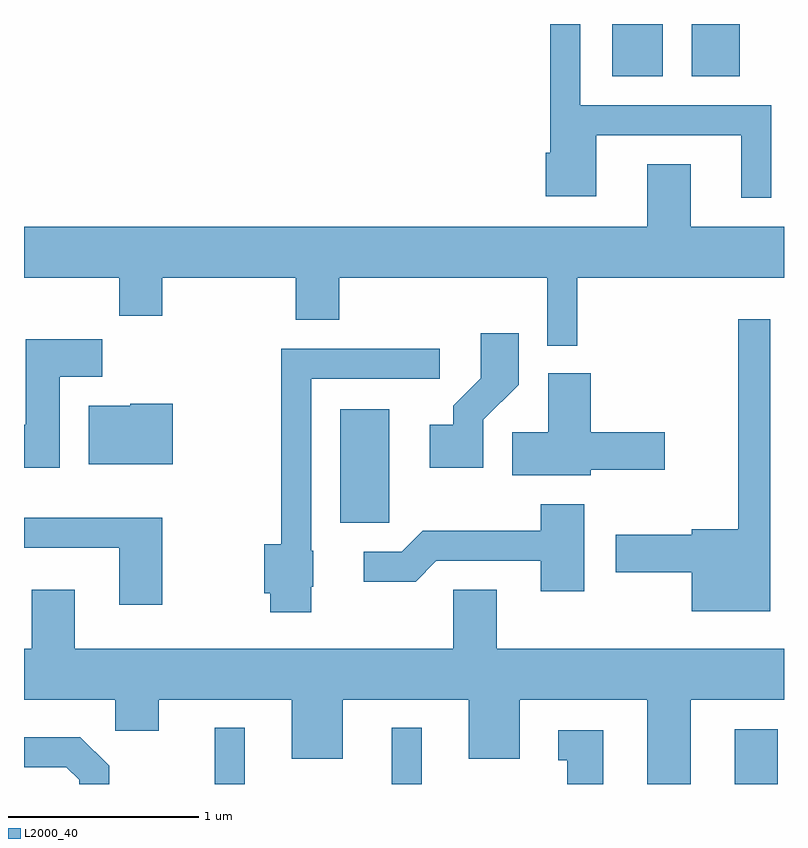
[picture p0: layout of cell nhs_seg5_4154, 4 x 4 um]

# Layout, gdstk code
import gdstk
lib = gdstk.Library(unit=1e-6, precision=1e-09)
def R(c, l, rs):  # rectangles x0, y0, x1, y1
    for r in rs: c.add(gdstk.rectangle(r[:2], r[2:], *l))
def P(c, l, *ps):  # polygons
    for p in ps: c.add(gdstk.Polygon(p, *l))
L2000_40 = (2000, 40)

nhs_seg5_4154 = lib.new_cell('nhs_seg5_4154')
R(nhs_seg5_4154, L2000_40, [(308.616,1514.072,308.774,1514.368), (309.546,1514.072,309.704,1514.368), (311.351,1514.072,311.579,1514.359), (309.276,1515.446,309.534,1516.044), (310.706,1517.796,310.974,1518.072), (311.126,1517.796,311.379,1518.072)])
P(nhs_seg5_4154, L2000_40, [(311.544,1517.644),(310.539,1517.644),(310.539,1518.072),(310.381,1518.072),(310.381,1517.394),(310.356,1517.394),(310.356,1517.166),(310.624,1517.166),(310.624,1517.486),(311.386,1517.486),(311.386,1517.158),(311.544,1517.158)],
  [(311.611,1517.004),(311.119,1517.004),(311.119,1517.334),(310.891,1517.334),(310.891,1517.004),(307.611,1517.004),(307.611,1516.736),(308.111,1516.736),(308.111,1516.536),(308.339,1516.536),(308.339,1516.736),(309.041,1516.736),(309.041,1516.516),(309.269,1516.516),(309.269,1516.736),(310.366,1516.736),(310.366,1516.378),(310.524,1516.378),(310.524,1516.736),(311.611,1516.736)],
  [(311.539,1516.518),(311.371,1516.518),(311.371,1515.414),(311.126,1515.414),(311.126,1515.384),(310.726,1515.384),(310.726,1515.186),(311.126,1515.186),(311.126,1514.981),(311.539,1514.981)],
  [(310.029,1515.989),(310.214,1516.174),(310.214,1516.444),(310.016,1516.444),(310.016,1516.207),(309.871,1516.062),(309.871,1515.964),(309.746,1515.964),(309.746,1515.736),(310.029,1515.736)],
  [(307.799,1516.216),(308.024,1516.216),(308.024,1516.414),(307.621,1516.414),(307.621,1515.964),(307.611,1515.964),(307.611,1515.736),(307.799,1515.736)],
  [(309.124,1515.11),(309.134,1515.11),(309.134,1515.3),(309.124,1515.3),(309.124,1516.206),(309.798,1516.206),(309.798,1516.364),(308.966,1516.364),(308.966,1515.334),(308.876,1515.334),(308.876,1515.076),(308.906,1515.076),(308.906,1514.976),(309.124,1514.976)],
  [(310.594,1515.726),(310.984,1515.726),(310.984,1515.924),(310.594,1515.924),(310.594,1516.234),(310.371,1516.234),(310.371,1515.924),(310.181,1515.924),(310.181,1515.696),(310.594,1515.696)],
  [(308.394,1516.074),(308.17,1516.074),(308.17,1516.064),(307.951,1516.064),(307.951,1515.756),(308.394,1515.756)],
  [(310.559,1515.544),(310.331,1515.544),(310.331,1515.404),(309.709,1515.404),(309.599,1515.294),(309.398,1515.294),(309.398,1515.136),(309.672,1515.136),(309.782,1515.246),(310.331,1515.246),(310.331,1515.086),(310.559,1515.086)],
  [(308.339,1515.474),(307.611,1515.474),(307.611,1515.316),(308.111,1515.316),(308.111,1515.016),(308.339,1515.016)],
  [(311.119,1514.516),(311.611,1514.516),(311.611,1514.784),(310.099,1514.784),(310.099,1515.094),(309.871,1515.094),(309.871,1514.784),(307.879,1514.784),(307.879,1515.094),(307.651,1515.094),(307.651,1514.784),(307.611,1514.784),(307.611,1514.516),(308.091,1514.516),(308.091,1514.351),(308.319,1514.351),(308.319,1514.516),(309.021,1514.516),(309.021,1514.206),(309.289,1514.206),(309.289,1514.516),(309.951,1514.516),(309.951,1514.206),(310.219,1514.206),(310.219,1514.516),(310.891,1514.516),(310.891,1514.072),(311.119,1514.072)],
  [(310.659,1514.354),(310.423,1514.354),(310.423,1514.196),(310.471,1514.196),(310.471,1514.072),(310.659,1514.072)],
  [(308.059,1514.167),(307.907,1514.319),(307.611,1514.319),(307.611,1514.161),(307.834,1514.161),(307.901,1514.094),(307.901,1514.072),(308.059,1514.072)])

lib.write_gds('nhs_seg5_4154.gds')
